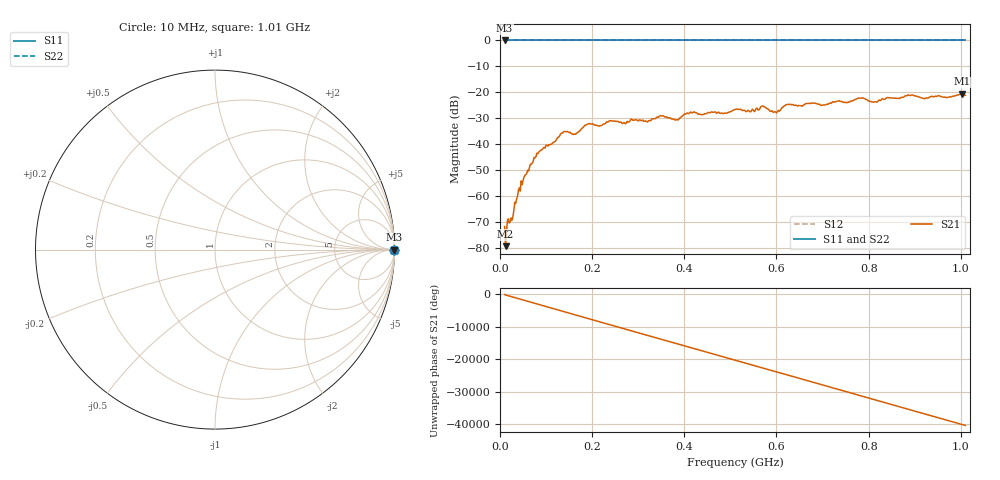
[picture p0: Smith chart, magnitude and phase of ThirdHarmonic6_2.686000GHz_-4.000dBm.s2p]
! 8/17/2025 6:20:28 AM
! C:\ANRITSUVNA\TEMP\TEMP.S2P
! CHANNEL.1
! TR.MEASUREMENT
! RAW.DATA
! RF.CORRECTION.OFF
! AVERAGING.OFF
! IF.BANDWIDTH: 5KHZ
! SWEEPTYPE:  FREQ.SWEEP(Linear)
! Reference Plane Port Info
! PORT:  PORT1  PORT2
! DISTANCE:  0  m  0  m
! TIME:  0  s  0  s
! PHASE.OFFSET:  0  deg.  0  deg.
! LOSS:  0  dB  0  dB
! REF.LOSS:  0  dB  0  dB
! REF.FREQ:  0  Hz  0  Hz
! Power Info
! POWER:  -20  dBm  -20  dBm
! EFF.POWER:  -20  dBm  -20  dBm
! SOURCE.ATTEN:  0  dB  0  dB
! TEST.ATTEN:  0  dB  0  dB
# GHZ S RI R 50.0
! FREQ.GHZ  S11RE  S11IM  S21RE  S21IM  S12RE  S12IM  S22RE  S22IM
!; PortSelection: Port_12
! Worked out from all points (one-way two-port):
!   501 points, 10 MHz to 1.01 GHz, reference 50 ohm
!   highest |S21| = -20.46 dB at 1.002 GHz (marker M1); lowest = -79.1 dB at 12 MHz (marker M2)
!   lowest |S11| = 0.0 dB at 10 MHz (marker M3)
!   |S11| at or under -10 dB: nowhere
!   |S22| runs from 0.0 to 0.0 dB; largest |S21 - S12| = 1.1
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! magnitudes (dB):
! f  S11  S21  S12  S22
! 10 MHz  0.0  -71.6  0.0  0.0
! 12 MHz  0.0  -79.1  0.0  0.0
! 26 MHz  0.0  -69.1  0.0  0.0
! 36 MHz  0.0  -61.1  0.0  0.0
! 50 MHz  0.0  -53.9  0.0  0.0
! 78 MHz  0.0  -44.7  0.0  0.0
! 136 MHz  0.0  -35.6  0.0  0.0
! 162 MHz  0.0  -36.0  0.0  0.0
! 178 MHz  0.0  -33.8  0.0  0.0
! 192 MHz  0.0  -32.1  0.0  0.0
! 322 MHz  0.0  -31.0  0.0  0.0
! 344 MHz  0.0  -29.5  0.0  0.0
! 384 MHz  0.0  -30.5  0.0  0.0
! 410 MHz  0.0  -28.1  0.0  0.0
! 510 MHz  0.0  -26.6  0.0  0.0
! 570 MHz  0.0  -25.2  0.0  0.0
! 598 MHz  0.0  -27.5  0.0  0.0
! 624 MHz  0.0  -24.6  0.0  0.0
! 678 MHz  0.0  -24.1  0.0  0.0
! 844 MHz  0.0  -22.1  0.0  0.0
! 1.002 GHz  0.0  -20.5  0.0  0.0
! 1.01 GHz  0.0  -21.1  0.0  0.0
